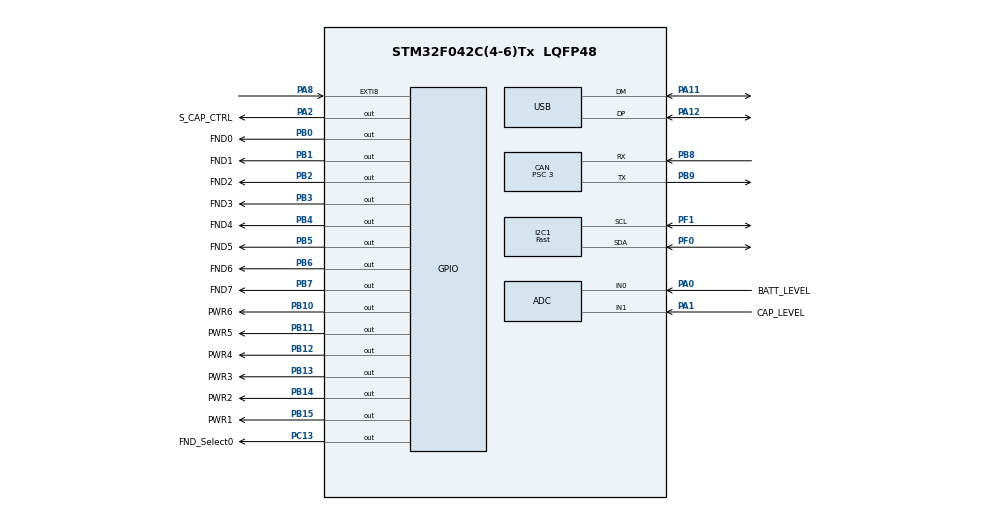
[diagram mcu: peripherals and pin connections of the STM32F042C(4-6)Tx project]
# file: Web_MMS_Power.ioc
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CAN.BS1=CAN_BS1_13TQ
CAN.BS2=CAN_BS2_2TQ
CAN.CalculateBaudRate=1000000
CAN.CalculateTimeBit=1000.00
CAN.CalculateTimeQuantum=62.5
CAN.Prescaler=3
Dma.ADC.0.Direction=DMA_PERIPH_TO_MEMORY
Dma.ADC.0.Instance=DMA1_Channel1
Dma.ADC.0.MemDataAlignment=DMA_MDATAALIGN_HALFWORD
Dma.ADC.0.MemInc=DMA_MINC_ENABLE
Dma.ADC.0.Mode=DMA_CIRCULAR
Dma.ADC.0.PeriphDataAlignment=DMA_PDATAALIGN_HALFWORD
Dma.ADC.0.PeriphInc=DMA_PINC_DISABLE
Dma.ADC.0.Priority=DMA_PRIORITY_LOW
Dma.Request0=ADC
I2C1.I2C_Speed_Mode=I2C_Fast
I2C1.Timing=0x0000020B
Mcu.Family=STM32F0
Mcu.Name=STM32F042C(4-6)Tx
Mcu.Package=LQFP48
NVIC.ADC1_IRQn=true\:0\:0\:false\:false\:true\:true\:true
NVIC.DMA1_Channel1_IRQn=true\:0\:0\:false\:false\:true\:false\:true
NVIC.EXTI4_15_IRQn=true\:0\:0\:false\:false\:true\:true\:true
NVIC.I2C1_IRQn=true\:0\:0\:false\:false\:true\:true\:true
NVIC.TIM1_BRK_UP_TRG_COM_IRQn=true\:0\:0\:false\:false\:true\:true\:true
NVIC.USB_IRQn=true\:0\:0\:false\:false\:true\:true\:true
PA0.GPIO_Label=BATT_LEVEL
PA0.Mode=IN0
PA0.Signal=ADC_IN0
PA1.GPIO_Label=CAP_LEVEL
PA1.Mode=IN1
PA1.Signal=ADC_IN1
PA11.Mode=Device
PA11.Signal=USB_DM
PA12.Mode=Device
PA12.Signal=USB_DP
PA2.GPIO_Label=S_CAP_CTRL
PA2.Signal=GPIO_Output
PA8.GPIO_ModeDefaultEXTI=GPIO_MODE_IT_RISING_FALLING
PA8.Signal=GPXTI8
PB0.GPIO_Label=FND0
PB0.Signal=GPIO_Output
PB1.GPIO_Label=FND1
PB1.Signal=GPIO_Output
PB10.GPIO_Label=PWR6
PB10.GPIO_ModeDefaultOutputPP=GPIO_MODE_OUTPUT_OD
PB10.GPIO_PuPd=GPIO_PULLUP
PB10.GPIO_Speed=GPIO_SPEED_FREQ_LOW
PB10.PinState=GPIO_PIN_SET
PB10.Signal=GPIO_Output
PB11.GPIO_Label=PWR5
PB11.GPIO_ModeDefaultOutputPP=GPIO_MODE_OUTPUT_OD
PB11.GPIO_PuPd=GPIO_PULLUP
PB11.GPIO_Speed=GPIO_SPEED_FREQ_LOW
PB11.PinState=GPIO_PIN_SET
PB11.Signal=GPIO_Output
PB12.GPIO_Label=PWR4
PB12.GPIO_ModeDefaultOutputPP=GPIO_MODE_OUTPUT_OD
PB12.GPIO_PuPd=GPIO_PULLUP
PB12.GPIO_Speed=GPIO_SPEED_FREQ_LOW
PB12.PinState=GPIO_PIN_SET
PB12.Signal=GPIO_Output
PB13.GPIO_Label=PWR3
PB13.GPIO_ModeDefaultOutputPP=GPIO_MODE_OUTPUT_OD
PB13.GPIO_PuPd=GPIO_PULLUP
PB13.GPIO_Speed=GPIO_SPEED_FREQ_LOW
PB13.PinState=GPIO_PIN_SET
PB13.Signal=GPIO_Output
PB14.GPIO_Label=PWR2
PB14.GPIO_ModeDefaultOutputPP=GPIO_MODE_OUTPUT_OD
PB14.GPIO_PuPd=GPIO_PULLUP
PB14.GPIO_Speed=GPIO_SPEED_FREQ_LOW
PB14.PinState=GPIO_PIN_SET
PB14.Signal=GPIO_Output
PB15.GPIO_Label=PWR1
PB15.GPIO_ModeDefaultOutputPP=GPIO_MODE_OUTPUT_OD
PB15.GPIO_PuPd=GPIO_PULLUP
PB15.GPIO_Speed=GPIO_SPEED_FREQ_LOW
PB15.PinState=GPIO_PIN_SET
PB15.Signal=GPIO_Output
PB2.GPIO_Label=FND2
PB2.Signal=GPIO_Output
PB3.GPIO_Label=FND3
PB3.Signal=GPIO_Output
PB4.GPIO_Label=FND4
PB4.Signal=GPIO_Output
PB5.GPIO_Label=FND5
PB5.Signal=GPIO_Output
PB6.GPIO_Label=FND6
PB6.Signal=GPIO_Output
PB7.GPIO_Label=FND7
PB7.Signal=GPIO_Output
PB8.Mode=CAN_Activate
PB8.Signal=CAN_RX
PB9.Mode=CAN_Activate
PB9.Signal=CAN_TX
PC13.GPIO_Label=FND_Select0
PC13.Signal=GPIO_Output
PC14OSC32_IN.GPIO_Label=FND_Select1
PC14OSC32_IN.Signal=GPIO_Output
PC15OSC32_OUT.GPIO_Label=FND_Select2
PC15OSC32_OUT.Signal=GPIO_Output
PF0-OSC_IN.Mode=I2C
PF0-OSC_IN.Signal=I2C1_SDA
PF1-OSC_OUT.Mode=I2C
PF1-OSC_OUT.Signal=I2C1_SCL
ProjectManager.HeapSize=0x100
ProjectManager.StackSize=0x200
ProjectManager.TargetToolchain=MDK-ARM V5.27
RCC.AHBFreq_Value=48000000
RCC.APB1Freq_Value=48000000
RCC.APB1TimFreq_Value=48000000
RCC.HCLKFreq_Value=48000000
RCC.SYSCLKFreq_VALUE=48000000
RCC.SYSCLKSource=RCC_SYSCLKSOURCE_HSI48
TIM1.Period=600
TIM1.Prescaler=79
USB_DEVICE.APP_RX_DATA_SIZE=30
USB_DEVICE.APP_TX_DATA_SIZE=30
USB_DEVICE.CLASS_NAME_FS=CDC
USB_DEVICE.MANUFACTURER_STRING=Stryx.Inc
USB_DEVICE.PRODUCT_STRING_CDC_FS=WebMMS_Power
USB_DEVICE.USBD_MAX_STR_DESC_SIZ=64
USB_DEVICE.USBD_SELF_POWERED=1
USB_DEVICE.VirtualMode=Cdc
USB_DEVICE.VirtualModeFS=Cdc_FS
VP_TIM1_VS_ClockSourceINT.Mode=Internal
VP_USB_DEVICE_VS_USB_DEVICE_CDC_FS.Mode=CDC_FS
board=custom

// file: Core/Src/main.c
/* USER CODE BEGIN Header */
/**
 ******************************************************************************
 * @file           : main.c
 * @brief          : Main program body
 ******************************************************************************
 * @attention
 *
 * <h2><center>&copy; Copyright (c) 2020 STMicroelectronics.
 * All rights reserved.</center></h2>
 *
 * This software component is licensed by ST under BSD 3-Clause license,
 * the "License"; You may not use this file except in compliance with the
 * License. You may obtain a copy of the License at:
 *                        opensource.org/licenses/BSD-3-Clause
 *
 ******************************************************************************
 */
/* USER CODE END Header */
#include "main.h"
#include "usb_device.h"

/* USER CODE BEGIN Includes */
#include <stdbool.h>
#include <string.h>
#include <stdlib.h>
#include <stdio.h>
#include "fonts.h"
#include "ssd1306.h"
#include "usbd_core.h"
/* USER CODE END Includes */

/* USER CODE BEGIN PD */
#define bMAX_VOLTAGE 14.9f
#define cMAX_VOLTAGE 9.9f
#define MAX_ADC_VAL 4096.0f
/* USER CODE END PD */

ADC_HandleTypeDef hadc;
DMA_HandleTypeDef hdma_adc;

CAN_HandleTypeDef hcan;

I2C_HandleTypeDef hi2c1;

TIM_HandleTypeDef htim1;

/* USER CODE BEGIN PV */

extern USBD_HandleTypeDef hUsbDeviceFS;
extern PCD_HandleTypeDef hpcd_USB_FS;
const uint8_t SegmentArrInfo[] =
{ 0x3F,	//0
		0x06,	//1
		0x5B,	//2
		0x4F,	//3
		0x66,	//4
		0x6D,	//5
		0x7D,	//6
		0x07,	//7
		0x7F,	//8
		0x6F,	//9
		0x77,	//A
		0x7C,	//B
		0x39,	//C
		0x5E,	//D
		0x79,	//E
		0x71	//F
		};
uint8_t FND_Var[3];

float voltage_bat, voltage_cam;

char bdata[20];
char cdata[20];
uint16_t ADC_Value[2];

uint8_t USB_Inited_Flag = 0;
uint8_t USB_Init_Flag = 0;

/* USER CODE END PV */

void SystemClock_Config(void);
static void MX_GPIO_Init(void);
static void MX_DMA_Init(void);
static void MX_ADC_Init(void);
static void MX_TIM1_Init(void);
static void MX_I2C1_Init(void);
static void MX_CAN_Init(void);
/* USER CODE BEGIN PFP */

void HAL_TIM_PeriodElapsedCallback(TIM_HandleTypeDef *htim)
{
	static uint16_t now = 13;
	if (htim->Instance == TIM1)
	{
		HAL_GPIO_WritePin(GPIOC, (1 << now), GPIO_PIN_SET);
		now++;
		if (now >= 16)
		{
			now = 13;
		}
		HAL_GPIO_WritePin(GPIOB, 0x00FF, GPIO_PIN_RESET);
		HAL_GPIO_WritePin(GPIOB, FND_Var[now - 13], GPIO_PIN_SET);
		HAL_GPIO_WritePin(GPIOC, (1 << now), GPIO_PIN_RESET);
	}
}

void setSegVal(uint16_t val, uint8_t ptDigit)
{
	FND_Var[0] = SegmentArrInfo[val / 100]; // 100
	FND_Var[1] = SegmentArrInfo[((val % 100)) / 10]; // 10
	FND_Var[2] = SegmentArrInfo[val % 10]; // 1

	for (uint8_t i = 0; i < 3; i++)
	{
		if (ptDigit & (1 << i))
		{
			FND_Var[i] |= 0x80;
		}
	}
}

void ADC_PRINT()
{
	HAL_ADC_Start_DMA(&hadc, (uint32_t *)ADC_Value, 2);
	for (int i = 0; i < 2; i++)
	{
		HAL_DMA_PollForTransfer(&hdma_adc, HAL_DMA_FULL_TRANSFER, 1000);
	}
	HAL_ADC_Stop_DMA(&hadc);

	voltage_bat = ((bMAX_VOLTAGE) / (MAX_ADC_VAL)) * ((float) ADC_Value[0]);
	voltage_cam = ((cMAX_VOLTAGE) / (MAX_ADC_VAL)) * ((float) ADC_Value[1]);
	if (voltage_cam >= 5.3)
	{
		HAL_GPIO_WritePin(S_CAP_CTRL_GPIO_Port, S_CAP_CTRL_Pin, GPIO_PIN_SET);
	}
	else
	{
		HAL_GPIO_WritePin(S_CAP_CTRL_GPIO_Port, S_CAP_CTRL_Pin, GPIO_PIN_RESET);
	}
	setSegVal((uint16_t) (voltage_cam * 100.0), 1 << 0);
	HAL_Delay(50);
}
/* USER CODE END PFP */

int main(void)
{

  /* MCU Configuration--------------------------------------------------------*/

  /* Reset of all peripherals, Initializes the Flash interface and the Systick. */
  HAL_Init();

  /* Configure the system clock */
  SystemClock_Config();

  /* Initialize all configured peripherals */
  MX_GPIO_Init();
  MX_DMA_Init();
  MX_ADC_Init();
  MX_USB_DEVICE_Init();
  MX_TIM1_Init();
  MX_I2C1_Init();
  MX_CAN_Init();
  /* USER CODE BEGIN 2 */
	HAL_TIM_Base_Start_IT(&htim1);
	USB_Inited_Flag = 1;
	ssd1306_Init();

	ssd1306_Fill(Black);
	ssd1306_UpdateScreen();

	ssd1306_SetCursor(18, 0);
	ssd1306_WriteString("Stryx.INC", Font_11x18, White);
	ssd1306_SetCursor(0, 20);
	ssd1306_WriteString("batV:", Font_11x18, White);
	ssd1306_SetCursor(0, 40);
	ssd1306_WriteString("capV:", Font_11x18, White);
	ssd1306_UpdateScreen();
  /* USER CODE END 2 */

  /* Infinite loop */
	while (1)
	{

    /* USER CODE BEGIN 3 */
		ADC_PRINT();

		sprintf(bdata, "%d.%d", (int) voltage_bat, (int) (voltage_bat * 100) % 100);
		sprintf(cdata, "%d.%d", (int) voltage_cam, (int) (voltage_cam * 100) % 100);

		ssd1306_SetCursor(60, 20);
		ssd1306_WriteString(bdata, Font_11x18, White);
		ssd1306_SetCursor(60, 40);
		ssd1306_WriteString(cdata, Font_11x18, White);
		ssd1306_UpdateScreen();

		if (USB_Init_Flag == 1)
		{
			MX_USB_DEVICE_Init();
			USB_Init_Flag = 0;
		}
		else if (USB_Init_Flag == 2)
		{
			HAL_PCD_DevDisconnect(&hpcd_USB_FS);
			USBD_Stop(&hUsbDeviceFS);
			USBD_DeInit(&hUsbDeviceFS);
			USB_Init_Flag = 0;
		}
	}
  /* USER CODE END 3 */
}

void SystemClock_Config(void)
{
  LL_FLASH_SetLatency(LL_FLASH_LATENCY_1);
  while(LL_FLASH_GetLatency() != LL_FLASH_LATENCY_1)
  {
  }
  LL_RCC_HSI_Enable();

   /* Wait till HSI is ready */
  while(LL_RCC_HSI_IsReady() != 1)
  {

  }
  LL_RCC_HSI_SetCalibTrimming(16);
  LL_RCC_HSI14_Enable();

   /* Wait till HSI14 is ready */
  while(LL_RCC_HSI14_IsReady() != 1)
  {

  }
  LL_RCC_HSI14_SetCalibTrimming(16);
  LL_RCC_HSI48_Enable();

   /* Wait till HSI48 is ready */
  while(LL_RCC_HSI48_IsReady() != 1)
  {

  }
  LL_RCC_SetAHBPrescaler(LL_RCC_SYSCLK_DIV_1);
  LL_RCC_SetAPB1Prescaler(LL_RCC_APB1_DIV_1);
  LL_RCC_SetSysClkSource(LL_RCC_SYS_CLKSOURCE_HSI48);

   /* Wait till System clock is ready */
  while(LL_RCC_GetSysClkSource() != LL_RCC_SYS_CLKSOURCE_STATUS_HSI48)
  {

  }
  LL_SetSystemCoreClock(48000000);

   /* Update the time base */
  if (HAL_InitTick (TICK_INT_PRIORITY) != HAL_OK)
  {
    Error_Handler();
  }
  LL_RCC_HSI14_EnableADCControl();
  LL_RCC_SetI2CClockSource(LL_RCC_I2C1_CLKSOURCE_HSI);
  LL_RCC_SetUSBClockSource(LL_RCC_USB_CLKSOURCE_HSI48);
}

static void MX_ADC_Init(void)
{

  ADC_ChannelConfTypeDef sConfig = {0};

  /** Configure the global features of the ADC (Clock, Resolution, Data Alignment and number of conversion)
  */
  hadc.Instance = ADC1;
  hadc.Init.ClockPrescaler = ADC_CLOCK_ASYNC_DIV1;
  hadc.Init.Resolution = ADC_RESOLUTION_12B;
  hadc.Init.DataAlign = ADC_DATAALIGN_RIGHT;
  hadc.Init.ScanConvMode = ADC_SCAN_DIRECTION_FORWARD;
  hadc.Init.EOCSelection = ADC_EOC_SINGLE_CONV;
  hadc.Init.LowPowerAutoWait = DISABLE;
  hadc.Init.LowPowerAutoPowerOff = DISABLE;
  hadc.Init.ContinuousConvMode = DISABLE;
  hadc.Init.DiscontinuousConvMode = DISABLE;
  hadc.Init.ExternalTrigConv = ADC_SOFTWARE_START;
  hadc.Init.ExternalTrigConvEdge = ADC_EXTERNALTRIGCONVEDGE_NONE;
  hadc.Init.DMAContinuousRequests = DISABLE;
  hadc.Init.Overrun = ADC_OVR_DATA_PRESERVED;
  if (HAL_ADC_Init(&hadc) != HAL_OK)
  {
    Error_Handler();
  }
  /** Configure for the selected ADC regular channel to be converted.
  */
  sConfig.Channel = ADC_CHANNEL_0;
  sConfig.Rank = ADC_RANK_CHANNEL_NUMBER;
  sConfig.SamplingTime = ADC_SAMPLETIME_1CYCLE_5;
  if (HAL_ADC_ConfigChannel(&hadc, &sConfig) != HAL_OK)
  {
    Error_Handler();
  }
  /** Configure for the selected ADC regular channel to be converted.
  */
  sConfig.Channel = ADC_CHANNEL_1;
  if (HAL_ADC_ConfigChannel(&hadc, &sConfig) != HAL_OK)
  {
    Error_Handler();
  }

}

static void MX_CAN_Init(void)
{

  hcan.Instance = CAN;
  hcan.Init.Prescaler = 3;
  hcan.Init.Mode = CAN_MODE_NORMAL;
  hcan.Init.SyncJumpWidth = CAN_SJW_1TQ;
  hcan.Init.TimeSeg1 = CAN_BS1_13TQ;
  hcan.Init.TimeSeg2 = CAN_BS2_2TQ;
  hcan.Init.TimeTriggeredMode = DISABLE;
  hcan.Init.AutoBusOff = DISABLE;
  hcan.Init.AutoWakeUp = DISABLE;
  hcan.Init.AutoRetransmission = DISABLE;
  hcan.Init.ReceiveFifoLocked = DISABLE;
  hcan.Init.TransmitFifoPriority = DISABLE;
  if (HAL_CAN_Init(&hcan) != HAL_OK)
  {
    Error_Handler();
  }

}

static void MX_I2C1_Init(void)
{

  hi2c1.Instance = I2C1;
  hi2c1.Init.Timing = 0x0000020B;
  hi2c1.Init.OwnAddress1 = 0;
  hi2c1.Init.AddressingMode = I2C_ADDRESSINGMODE_7BIT;
  hi2c1.Init.DualAddressMode = I2C_DUALADDRESS_DISABLE;
  hi2c1.Init.OwnAddress2 = 0;
  hi2c1.Init.OwnAddress2Masks = I2C_OA2_NOMASK;
  hi2c1.Init.GeneralCallMode = I2C_GENERALCALL_DISABLE;
  hi2c1.Init.NoStretchMode = I2C_NOSTRETCH_DISABLE;
  if (HAL_I2C_Init(&hi2c1) != HAL_OK)
  {
    Error_Handler();
  }
  /** Configure Analogue filter
  */
  if (HAL_I2CEx_ConfigAnalogFilter(&hi2c1, I2C_ANALOGFILTER_ENABLE) != HAL_OK)
  {
    Error_Handler();
  }
  /** Configure Digital filter
  */
  if (HAL_I2CEx_ConfigDigitalFilter(&hi2c1, 0) != HAL_OK)
  {
    Error_Handler();
  }

}

static void MX_TIM1_Init(void)
{

  TIM_ClockConfigTypeDef sClockSourceConfig = {0};
  TIM_MasterConfigTypeDef sMasterConfig = {0};

  htim1.Instance = TIM1;
  htim1.Init.Prescaler = 79;
  htim1.Init.CounterMode = TIM_COUNTERMODE_UP;
  htim1.Init.Period = 600;
  htim1.Init.ClockDivision = TIM_CLOCKDIVISION_DIV1;
  htim1.Init.RepetitionCounter = 0;
  htim1.Init.AutoReloadPreload = TIM_AUTORELOAD_PRELOAD_DISABLE;
  if (HAL_TIM_Base_Init(&htim1) != HAL_OK)
  {
    Error_Handler();
  }
  sClockSourceConfig.ClockSource = TIM_CLOCKSOURCE_INTERNAL;
  if (HAL_TIM_ConfigClockSource(&htim1, &sClockSourceConfig) != HAL_OK)
  {
    Error_Handler();
  }
  sMasterConfig.MasterOutputTrigger = TIM_TRGO_RESET;
  sMasterConfig.MasterSlaveMode = TIM_MASTERSLAVEMODE_DISABLE;
  if (HAL_TIMEx_MasterConfigSynchronization(&htim1, &sMasterConfig) != HAL_OK)
  {
    Error_Handler();
  }

}

static void MX_DMA_Init(void)
{

  /* DMA controller clock enable */
  __HAL_RCC_DMA1_CLK_ENABLE();

  /* DMA interrupt init */
  /* DMA1_Channel1_IRQn interrupt configuration */
  HAL_NVIC_SetPriority(DMA1_Channel1_IRQn, 0, 0);
  HAL_NVIC_EnableIRQ(DMA1_Channel1_IRQn);

}

static void MX_GPIO_Init(void)
{
  LL_EXTI_InitTypeDef EXTI_InitStruct = {0};
  LL_GPIO_InitTypeDef GPIO_InitStruct = {0};

  /* GPIO Ports Clock Enable */
  LL_AHB1_GRP1_EnableClock(LL_AHB1_GRP1_PERIPH_GPIOC);
  LL_AHB1_GRP1_EnableClock(LL_AHB1_GRP1_PERIPH_GPIOF);
  LL_AHB1_GRP1_EnableClock(LL_AHB1_GRP1_PERIPH_GPIOA);
  LL_AHB1_GRP1_EnableClock(LL_AHB1_GRP1_PERIPH_GPIOB);

  /**/
  LL_GPIO_ResetOutputPin(FND_Select0_GPIO_Port, FND_Select0_Pin);

  /**/
  LL_GPIO_ResetOutputPin(FND_Select1_GPIO_Port, FND_Select1_Pin);

  /**/
  LL_GPIO_ResetOutputPin(FND_Select2_GPIO_Port, FND_Select2_Pin);

  /**/
  LL_GPIO_ResetOutputPin(S_CAP_CTRL_GPIO_Port, S_CAP_CTRL_Pin);

  /**/
  LL_GPIO_ResetOutputPin(FND0_GPIO_Port, FND0_Pin);

  /**/
  LL_GPIO_ResetOutputPin(FND1_GPIO_Port, FND1_Pin);

  /**/
  LL_GPIO_ResetOutputPin(FND2_GPIO_Port, FND2_Pin);

  /**/
  LL_GPIO_ResetOutputPin(FND3_GPIO_Port, FND3_Pin);

  /**/
  LL_GPIO_ResetOutputPin(FND4_GPIO_Port, FND4_Pin);

  /**/
  LL_GPIO_ResetOutputPin(FND5_GPIO_Port, FND5_Pin);

  /**/
  LL_GPIO_ResetOutputPin(FND6_GPIO_Port, FND6_Pin);

  /**/
  LL_GPIO_ResetOutputPin(FND7_GPIO_Port, FND7_Pin);

  /**/
  LL_GPIO_SetOutputPin(PWR6_GPIO_Port, PWR6_Pin);

  /**/
  LL_GPIO_SetOutputPin(PWR5_GPIO_Port, PWR5_Pin);

  /**/
  LL_GPIO_SetOutputPin(PWR4_GPIO_Port, PWR4_Pin);

  /**/
  LL_GPIO_SetOutputPin(PWR3_GPIO_Port, PWR3_Pin);

  /**/
  LL_GPIO_SetOutputPin(PWR2_GPIO_Port, PWR2_Pin);

  /**/
  LL_GPIO_SetOutputPin(PWR1_GPIO_Port, PWR1_Pin);

  /**/
  GPIO_InitStruct.Pin = FND_Select0_Pin;
  GPIO_InitStruct.Mode = LL_GPIO_MODE_OUTPUT;
  GPIO_InitStruct.Speed = LL_GPIO_SPEED_FREQ_LOW;
  GPIO_InitStruct.OutputType = LL_GPIO_OUTPUT_PUSHPULL;
  GPIO_InitStruct.Pull = LL_GPIO_PULL_NO;
  LL_GPIO_Init(FND_Select0_GPIO_Port, &GPIO_InitStruct);

  /**/
  GPIO_InitStruct.Pin = FND_Select1_Pin;
  GPIO_InitStruct.Mode = LL_GPIO_MODE_OUTPUT;
  GPIO_InitStruct.Speed = LL_GPIO_SPEED_FREQ_LOW;
  GPIO_InitStruct.OutputType = LL_GPIO_OUTPUT_PUSHPULL;
  GPIO_InitStruct.Pull = LL_GPIO_PULL_NO;
  LL_GPIO_Init(FND_Select1_GPIO_Port, &GPIO_InitStruct);

  /**/
  GPIO_InitStruct.Pin = FND_Select2_Pin;
  GPIO_InitStruct.Mode = LL_GPIO_MODE_OUTPUT;
  GPIO_InitStruct.Speed = LL_GPIO_SPEED_FREQ_LOW;
  GPIO_InitStruct.OutputType = LL_GPIO_OUTPUT_PUSHPULL;
  GPIO_InitStruct.Pull = LL_GPIO_PULL_NO;
  LL_GPIO_Init(FND_Select2_GPIO_Port, &GPIO_InitStruct);

  /**/
  GPIO_InitStruct.Pin = S_CAP_CTRL_Pin;
  GPIO_InitStruct.Mode = LL_GPIO_MODE_OUTPUT;
  GPIO_InitStruct.Speed = LL_GPIO_SPEED_FREQ_LOW;
  GPIO_InitStruct.OutputType = LL_GPIO_OUTPUT_PUSHPULL;
  GPIO_InitStruct.Pull = LL_GPIO_PULL_NO;
  LL_GPIO_Init(S_CAP_CTRL_GPIO_Port, &GPIO_InitStruct);

  /**/
  GPIO_InitStruct.Pin = FND0_Pin;
  GPIO_InitStruct.Mode = LL_GPIO_MODE_OUTPUT;
  GPIO_InitStruct.Speed = LL_GPIO_SPEED_FREQ_LOW;
  GPIO_InitStruct.OutputType = LL_GPIO_OUTPUT_PUSHPULL;
  GPIO_InitStruct.Pull = LL_GPIO_PULL_NO;
  LL_GPIO_Init(FND0_GPIO_Port, &GPIO_InitStruct);

  /**/
  GPIO_InitStruct.Pin = FND1_Pin;
  GPIO_InitStruct.Mode = LL_GPIO_MODE_OUTPUT;
  GPIO_InitStruct.Speed = LL_GPIO_SPEED_FREQ_LOW;
  GPIO_InitStruct.OutputType = LL_GPIO_OUTPUT_PUSHPULL;
  GPIO_InitStruct.Pull = LL_GPIO_PULL_NO;
  LL_GPIO_Init(FND1_GPIO_Port, &GPIO_InitStruct);

  /**/
  GPIO_InitStruct.Pin = FND2_Pin;
  GPIO_InitStruct.Mode = LL_GPIO_MODE_OUTPUT;
  GPIO_InitStruct.Speed = LL_GPIO_SPEED_FREQ_LOW;
  GPIO_InitStruct.OutputType = LL_GPIO_OUTPUT_PUSHPULL;
  GPIO_InitStruct.Pull = LL_GPIO_PULL_NO;
  LL_GPIO_Init(FND2_GPIO_Port, &GPIO_InitStruct);

  /**/
  GPIO_InitStruct.Pin = PWR6_Pin;
  GPIO_InitStruct.Mode = LL_GPIO_MODE_OUTPUT;
  GPIO_InitStruct.Speed = LL_GPIO_SPEED_FREQ_LOW;
  GPIO_InitStruct.OutputType = LL_GPIO_OUTPUT_OPENDRAIN;
  GPIO_InitStruct.Pull = LL_GPIO_PULL_UP;
  LL_GPIO_Init(PWR6_GPIO_Port, &GPIO_InitStruct);

  /**/
  GPIO_InitStruct.Pin = PWR5_Pin;
  GPIO_InitStruct.Mode = LL_GPIO_MODE_OUTPUT;
  GPIO_InitStruct.Speed = LL_GPIO_SPEED_FREQ_LOW;
  GPIO_InitStruct.OutputType = LL_GPIO_OUTPUT_OPENDRAIN;
  GPIO_InitStruct.Pull = LL_GPIO_PULL_UP;
  LL_GPIO_Init(PWR5_GPIO_Port, &GPIO_InitStruct);

  /**/
  GPIO_InitStruct.Pin = PWR4_Pin;
  GPIO_InitStruct.Mode = LL_GPIO_MODE_OUTPUT;
  GPIO_InitStruct.Speed = LL_GPIO_SPEED_FREQ_LOW;
  GPIO_InitStruct.OutputType = LL_GPIO_OUTPUT_OPENDRAIN;
  GPIO_InitStruct.Pull = LL_GPIO_PULL_UP;
  LL_GPIO_Init(PWR4_GPIO_Port, &GPIO_InitStruct);

  /**/
  GPIO_InitStruct.Pin = PWR3_Pin;
  GPIO_InitStruct.Mode = LL_GPIO_MODE_OUTPUT;
  GPIO_InitStruct.Speed = LL_GPIO_SPEED_FREQ_LOW;
  GPIO_InitStruct.OutputType = LL_GPIO_OUTPUT_OPENDRAIN;
  GPIO_InitStruct.Pull = LL_GPIO_PULL_UP;
  LL_GPIO_Init(PWR3_GPIO_Port, &GPIO_InitStruct);

  /**/
  GPIO_InitStruct.Pin = PWR2_Pin;
  GPIO_InitStruct.Mode = LL_GPIO_MODE_OUTPUT;
  GPIO_InitStruct.Speed = LL_GPIO_SPEED_FREQ_LOW;
  GPIO_InitStruct.OutputType = LL_GPIO_OUTPUT_OPENDRAIN;
  GPIO_InitStruct.Pull = LL_GPIO_PULL_UP;
  LL_GPIO_Init(PWR2_GPIO_Port, &GPIO_InitStruct);

  /**/
  GPIO_InitStruct.Pin = PWR1_Pin;
  GPIO_InitStruct.Mode = LL_GPIO_MODE_OUTPUT;
  GPIO_InitStruct.Speed = LL_GPIO_SPEED_FREQ_LOW;
  GPIO_InitStruct.OutputType = LL_GPIO_OUTPUT_OPENDRAIN;
  GPIO_InitStruct.Pull = LL_GPIO_PULL_UP;
  LL_GPIO_Init(PWR1_GPIO_Port, &GPIO_InitStruct);

  /**/
  GPIO_InitStruct.Pin = FND3_Pin;
  GPIO_InitStruct.Mode = LL_GPIO_MODE_OUTPUT;
  GPIO_InitStruct.Speed = LL_GPIO_SPEED_FREQ_LOW;
  GPIO_InitStruct.OutputType = LL_GPIO_OUTPUT_PUSHPULL;
  GPIO_InitStruct.Pull = LL_GPIO_PULL_NO;
  LL_GPIO_Init(FND3_GPIO_Port, &GPIO_InitStruct);

  /**/
  GPIO_InitStruct.Pin = FND4_Pin;
  GPIO_InitStruct.Mode = LL_GPIO_MODE_OUTPUT;
  GPIO_InitStruct.Speed = LL_GPIO_SPEED_FREQ_LOW;
  GPIO_InitStruct.OutputType = LL_GPIO_OUTPUT_PUSHPULL;
  GPIO_InitStruct.Pull = LL_GPIO_PULL_NO;
  LL_GPIO_Init(FND4_GPIO_Port, &GPIO_InitStruct);

  /**/
  GPIO_InitStruct.Pin = FND5_Pin;
  GPIO_InitStruct.Mode = LL_GPIO_MODE_OUTPUT;
  GPIO_InitStruct.Speed = LL_GPIO_SPEED_FREQ_LOW;
  GPIO_InitStruct.OutputType = LL_GPIO_OUTPUT_PUSHPULL;
  GPIO_InitStruct.Pull = LL_GPIO_PULL_NO;
  LL_GPIO_Init(FND5_GPIO_Port, &GPIO_InitStruct);

  /**/
  GPIO_InitStruct.Pin = FND6_Pin;
  GPIO_InitStruct.Mode = LL_GPIO_MODE_OUTPUT;
  GPIO_InitStruct.Speed = LL_GPIO_SPEED_FREQ_LOW;
  GPIO_InitStruct.OutputType = LL_GPIO_OUTPUT_PUSHPULL;
  GPIO_InitStruct.Pull = LL_GPIO_PULL_NO;
  LL_GPIO_Init(FND6_GPIO_Port, &GPIO_InitStruct);

  /**/
  GPIO_InitStruct.Pin = FND7_Pin;
  GPIO_InitStruct.Mode = LL_GPIO_MODE_OUTPUT;
  GPIO_InitStruct.Speed = LL_GPIO_SPEED_FREQ_LOW;
  GPIO_InitStruct.OutputType = LL_GPIO_OUTPUT_PUSHPULL;
  GPIO_InitStruct.Pull = LL_GPIO_PULL_NO;
  LL_GPIO_Init(FND7_GPIO_Port, &GPIO_InitStruct);

  /**/
  LL_SYSCFG_SetEXTISource(LL_SYSCFG_EXTI_PORTA, LL_SYSCFG_EXTI_LINE8);

  /**/
  LL_GPIO_SetPinPull(GPIOA, LL_GPIO_PIN_8, LL_GPIO_PULL_NO);

  /**/
  LL_GPIO_SetPinMode(GPIOA, LL_GPIO_PIN_8, LL_GPIO_MODE_INPUT);

  /**/
  EXTI_InitStruct.Line_0_31 = LL_EXTI_LINE_8;
  EXTI_InitStruct.LineCommand = ENABLE;
  EXTI_InitStruct.Mode = LL_EXTI_MODE_IT;
  EXTI_InitStruct.Trigger = LL_EXTI_TRIGGER_RISING_FALLING;
  LL_EXTI_Init(&EXTI_InitStruct);

  /* EXTI interrupt init*/
  NVIC_SetPriority(EXTI4_15_IRQn, 0);
  NVIC_EnableIRQ(EXTI4_15_IRQn);

}

void Error_Handler(void)
{
}

/************************ (C) COPYRIGHT STMicroelectronics *****END OF FILE****/
